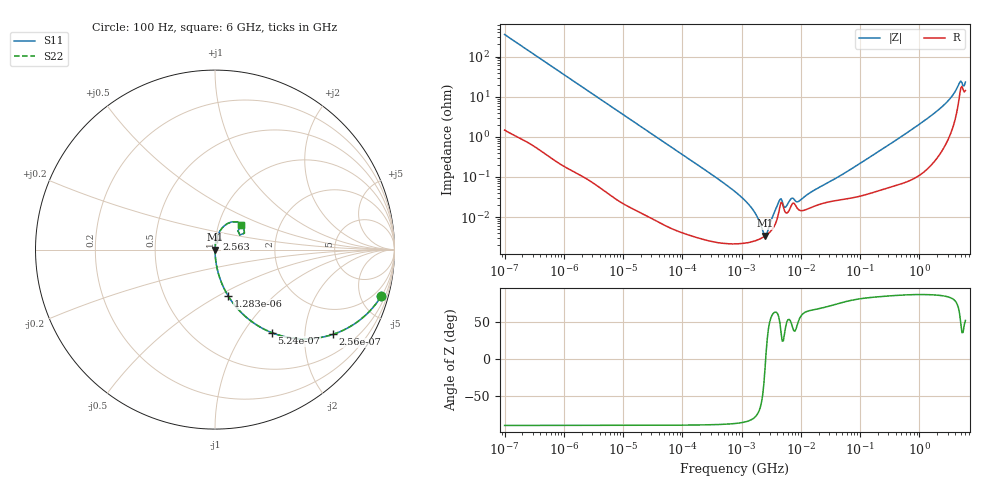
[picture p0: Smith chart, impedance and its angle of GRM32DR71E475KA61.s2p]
!Murata Part Number: GRM32DR71E475KA61
!These Parameters are Measured in Series Mode Connection
!Data Generated on Mar 30, 2021
!  o--ll--o
!Port1  Port2
!  o------o
!Operation Temp=25[degC], DC Bias Voltage=0[V]
!Freq. Start=100[Hz] Stop=6[GHz] 401[Steps]
# Hz S RI R 50
!Freq.(Hz) S11(Real) S11(Imag) S21(Real) S21(Imag) S12(Real) S12(Imag) S22(Real) S22(Imag)
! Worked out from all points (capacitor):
!   401 points, 100 Hz to 6 GHz, reference 50 ohm
!   read as one part in series: C = 4.48 uF near 109 Hz
!   lowest |Z| = 3.47 mohm at 2.481 MHz (marker M1)
!   series resonance near 2.552 MHz, so ESL is about 870 pH
!   S11 on the Smith chart (normalised r, x): 100 Hz: 1.03, -7.10; 256 Hz: 1.01, -2.78; 524 Hz: 1.01, -1.36; 1.283 kHz: 1.00, -0.56; 2.563 GHz: 1.01, +0.12; 6 GHz: 1.28, +0.36
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100  0.9256 -0.2603  0.0744 0.2603  0.0744 0.2603  0.9256 -0.2603
164  0.8241 -0.3784  0.1759 0.3784  0.1759 0.3784  0.8241 -0.3784
256  0.6585 -0.4717  0.3415 0.4717  0.3415 0.4717  0.6585 -0.4717
524  0.3178 -0.4631  0.6822 0.4631  0.6822 0.4631  0.3178 -0.4631
1283  0.0734 -0.2581  0.9266 0.2581  0.9266 0.2581  0.0734 -0.2581
2008  0.0318 -0.1727  0.9682 0.1727  0.9682 0.1727  0.0318 -0.1727
6433  0.00345 -0.0558  0.9965 0.0558  0.9965 0.0558  0.00345 -0.0558
40335  0.000155 -0.00899  0.9998 0.00899  0.9998 0.00899  0.000155 -0.00899
774597  2.17e-05 -0.000431  1 0.000431  1 0.000431  2.17e-05 -0.000431
1212075  2.28e-05 -0.000237  1 0.000237  1 0.000237  2.28e-05 -0.000237
1896632  2.72e-05 -8.91e-05  1 8.91e-05  1 8.91e-05  2.72e-05 -8.91e-05
2481164  3.36e-05 -8.5e-06  1 8.5e-06  1 8.5e-06  3.36e-05 -8.5e-06
3245845  4.82e-05 7.91e-05  1 -7.91e-05  1 -7.91e-05  4.82e-05 7.91e-05
4440638  0.000183 0.000206  0.9998 -0.000206  0.9998 -0.000206  0.000183 0.000206
5554849  0.000129 0.000123  0.9999 -0.000123  0.9999 -0.000123  0.000129 0.000123
6948629  0.000196 0.000216  0.9998 -0.000216  0.9998 -0.000216  0.000196 0.000216
9090158  0.000155 0.000189  0.9998 -0.000189  0.9998 -0.000189  0.000155 0.000189
1.555665e7  0.000178 0.0004  0.9998 -0.0004  0.9998 -0.0004  0.000178 0.0004
3.124326e8  0.00059 0.00642  0.9994 -0.00642  0.9994 -0.00642  0.00059 0.00642
2.562649e9  0.00872 0.0596  0.9913 -0.0596  0.9913 -0.0596  0.00872 0.0596
4.586474e9  0.0926 0.1544  0.9074 -0.1544  0.9074 -0.1544  0.0926 0.1544
6e9  0.1461 0.1358  0.8539 -0.1358  0.8539 -0.1358  0.1461 0.1358
